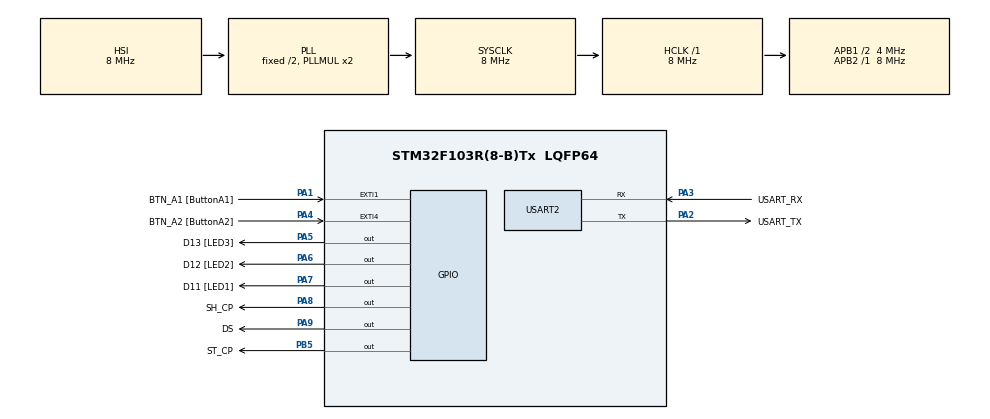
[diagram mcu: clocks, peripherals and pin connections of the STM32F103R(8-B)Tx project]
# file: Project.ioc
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Mcu.Family=STM32F1
Mcu.Name=STM32F103R(8-B)Tx
Mcu.Package=LQFP64
NVIC.EXTI1_IRQn=true\:0\:0\:false\:false\:true\:true\:true
NVIC.EXTI4_IRQn=true\:0\:0\:false\:false\:true\:true\:true
NVIC.PriorityGroup=NVIC_PRIORITYGROUP_4
PA1.GPIO_Label=BTN_A1 [ButtonA1]
PA1.Signal=GPXTI1
PA13.GPIO_Label=TMS
PA13.Mode=Serial_Wire
PA13.Signal=SYS_JTMS-SWDIO
PA14.GPIO_Label=TCK
PA14.Mode=Serial_Wire
PA14.Signal=SYS_JTCK-SWCLK
PA2.GPIO_Label=USART_TX
PA2.GPIO_Mode=GPIO_MODE_AF_PP
PA2.GPIO_PuPd=GPIO_NOPULL
PA2.GPIO_Speed=GPIO_SPEED_FREQ_LOW
PA2.Mode=Asynchronous
PA2.Signal=USART2_TX
PA3.GPIO_Label=USART_RX
PA3.GPIO_Mode=GPIO_MODE_AF_PP
PA3.GPIO_PuPd=GPIO_NOPULL
PA3.GPIO_Speed=GPIO_SPEED_FREQ_LOW
PA3.Mode=Asynchronous
PA3.Signal=USART2_RX
PA4.GPIO_Label=BTN_A2 [ButtonA2]
PA4.Signal=GPXTI4
PA5.GPIO_Label=D13 [LED3]
PA5.Signal=GPIO_Output
PA6.GPIO_Label=D12 [LED2]
PA6.Signal=GPIO_Output
PA7.GPIO_Label=D11 [LED1]
PA7.Signal=GPIO_Output
PA8.GPIO_Label=SH_CP
PA8.Signal=GPIO_Output
PA9.GPIO_Label=DS
PA9.Signal=GPIO_Output
PB3.GPIO_Label=SWO
PB3.Signal=SYS_JTDO-TRACESWO
PB5.GPIO_Label=ST_CP
PB5.Signal=GPIO_Output
PC14-OSC32_IN.Mode=LSE-External-Oscillator
PC14-OSC32_IN.Signal=RCC_OSC32_IN
PC15-OSC32_OUT.Mode=LSE-External-Oscillator
PC15-OSC32_OUT.Signal=RCC_OSC32_OUT
PD0-OSC_IN.Mode=HSE-External-Clock-Source
PD0-OSC_IN.Signal=RCC_OSC_IN
PD1-OSC_OUT.Mode=HSE-External-Clock-Source
PD1-OSC_OUT.Signal=RCC_OSC_OUT
ProjectManager.HeapSize=0x200
ProjectManager.StackSize=0x400
ProjectManager.TargetToolchain=MDK-ARM V5.32
RCC.AHBFreq_Value=8000000
RCC.APB1CLKDivider=RCC_HCLK_DIV2
RCC.APB1Freq_Value=4000000
RCC.APB1TimFreq_Value=8000000
RCC.APB2Freq_Value=8000000
RCC.APB2TimFreq_Value=8000000
RCC.HCLKFreq_Value=8000000
RCC.RTCClockSelection=RCC_RTCCLKSOURCE_LSE
RCC.SYSCLKFreq_VALUE=8000000
RCC.SYSCLKSource=RCC_SYSCLKSOURCE_PLLCLK
RCC.USBFreq_Value=8000000
USART2.VirtualMode=VM_ASYNC
board=NUCLEO-F103RB

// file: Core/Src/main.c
/* USER CODE BEGIN Header */
/**
  ******************************************************************************
  * @file           : main.c
  * @brief          : Main program body
  ******************************************************************************
  * @attention
  *
  * <h2><center>&copy; Copyright (c) 2021 STMicroelectronics.
  * All rights reserved.</center></h2>
  *
  * This software component is licensed by ST under BSD 3-Clause license,
  * the "License"; You may not use this file except in compliance with the
  * License. You may obtain a copy of the License at:
  *                        opensource.org/licenses/BSD-3-Clause
  *
  ******************************************************************************
  */
/* USER CODE END Header */
#include "main.h"
#include "usart.h"
#include "gpio.h"

/* USER CODE BEGIN PD */
#define BUTTON_DELAY 200
/* USER CODE END PD */

/* USER CODE BEGIN PV */
uint8_t pressedA1 = 0;
uint8_t pressedA2 = 0;
uint32_t button1PressTime = 0;
uint32_t button2PressTime = 0;
uint8_t isStopwatchRunning = 0;
uint8_t isStopwatchPaused = 0;
uint32_t stopwatchStartTime = 0;
uint32_t pauseStartTime = 0;
/* USER CODE END PV */

void SystemClock_Config(void);
/* USER CODE BEGIN PFP */
void writeByte(uint8_t val);
void beginDisplayWrite(void);
void endDisplayWrite(void);
uint8_t translateDigit(uint8_t value);
void writeDigit(uint8_t digit, uint8_t pos, uint8_t showDot);
void writeMsecToDisplay(uint32_t msec);
void handleButtons(void);
void handleLEDs(void);
void handleDisplay(void);
/* USER CODE END PFP */

int main(void)
{

  /* MCU Configuration--------------------------------------------------------*/

  /* Reset of all peripherals, Initializes the Flash interface and the Systick. */
  HAL_Init();

  /* Configure the system clock */
  SystemClock_Config();

  /* Initialize all configured peripherals */
  MX_GPIO_Init();
  MX_USART2_UART_Init();

  /* Infinite loop */
  while (1)
  {

    /* USER CODE BEGIN 3 */

		handleButtons();
		handleLEDs();
		handleDisplay();

  }
  /* USER CODE END 3 */
}

void SystemClock_Config(void)
{
  RCC_OscInitTypeDef RCC_OscInitStruct = {0};
  RCC_ClkInitTypeDef RCC_ClkInitStruct = {0};

  /** Initializes the RCC Oscillators according to the specified parameters
  * in the RCC_OscInitTypeDef structure.
  */
  RCC_OscInitStruct.OscillatorType = RCC_OSCILLATORTYPE_HSI;
  RCC_OscInitStruct.HSIState = RCC_HSI_ON;
  RCC_OscInitStruct.HSICalibrationValue = RCC_HSICALIBRATION_DEFAULT;
  RCC_OscInitStruct.PLL.PLLState = RCC_PLL_ON;
  RCC_OscInitStruct.PLL.PLLSource = RCC_PLLSOURCE_HSI_DIV2;
  RCC_OscInitStruct.PLL.PLLMUL = RCC_PLL_MUL2;
  if (HAL_RCC_OscConfig(&RCC_OscInitStruct) != HAL_OK)
  {
    Error_Handler();
  }
  /** Initializes the CPU, AHB and APB buses clocks
  */
  RCC_ClkInitStruct.ClockType = RCC_CLOCKTYPE_HCLK|RCC_CLOCKTYPE_SYSCLK
                              |RCC_CLOCKTYPE_PCLK1|RCC_CLOCKTYPE_PCLK2;
  RCC_ClkInitStruct.SYSCLKSource = RCC_SYSCLKSOURCE_PLLCLK;
  RCC_ClkInitStruct.AHBCLKDivider = RCC_SYSCLK_DIV1;
  RCC_ClkInitStruct.APB1CLKDivider = RCC_HCLK_DIV2;
  RCC_ClkInitStruct.APB2CLKDivider = RCC_HCLK_DIV1;

  if (HAL_RCC_ClockConfig(&RCC_ClkInitStruct, FLASH_LATENCY_0) != HAL_OK)
  {
    Error_Handler();
  }
}

/* USER CODE BEGIN 4 */
void handleDisplay()
{
	if (isStopwatchRunning == 1)
		{
			if (isStopwatchPaused == 1)
			{
				writeMsecToDisplay(pauseStartTime - stopwatchStartTime);
			}
			else
			{
				writeMsecToDisplay(HAL_GetTick() - stopwatchStartTime);
			}
		}
		else
		{
			writeMsecToDisplay(0);
		}
}

void handleLEDs()
{
	if (isStopwatchPaused == 1)
	{
		HAL_GPIO_WritePin(GPIOA, D13_Pin|D12_Pin, GPIO_PIN_RESET);
		HAL_GPIO_WritePin(GPIOA, D11_Pin, GPIO_PIN_SET);
		return;
	}

	if (isStopwatchRunning == 1)
	{
		HAL_GPIO_WritePin(GPIOA, D13_Pin|D11_Pin, GPIO_PIN_RESET);
		HAL_GPIO_WritePin(GPIOA, D12_Pin, GPIO_PIN_SET);
		return;
	}

	if (isStopwatchRunning == 0)
	{
		HAL_GPIO_WritePin(GPIOA, D12_Pin|D11_Pin, GPIO_PIN_RESET);
		HAL_GPIO_WritePin(GPIOA, D13_Pin, GPIO_PIN_SET);
		return;
	}

	HAL_GPIO_WritePin(GPIOA, D13_Pin|D12_Pin|D11_Pin, GPIO_PIN_RESET);
}

void handleButtons()
{
		if (pressedA1 == 1)
		{
			button1PressTime = HAL_GetTick();
			pressedA1 = 2;

			if (isStopwatchRunning == 0)
			{
				isStopwatchPaused = 0;
				pauseStartTime = 0;

				isStopwatchRunning = 1;
				stopwatchStartTime = HAL_GetTick();
			}
			else
			{
				isStopwatchPaused = 0;
				pauseStartTime = 0;

				isStopwatchRunning = 0;
				stopwatchStartTime = 0;
			}
		}
		if (pressedA1 == 2 && button1PressTime + BUTTON_DELAY < HAL_GetTick())
		{
			pressedA1 = 0;
		}

		if (pressedA2 == 1)
		{
			button2PressTime = HAL_GetTick();
			pressedA2 = 2;

			if (isStopwatchRunning == 1)
			{
				if (isStopwatchPaused == 0)
				{
					isStopwatchPaused = 1;
					pauseStartTime = HAL_GetTick();
				}
				else
				{
					stopwatchStartTime = stopwatchStartTime + HAL_GetTick() - pauseStartTime;
					isStopwatchPaused = 0;
					pauseStartTime = 0;
				}
			}
		}
		if (pressedA2 == 2 && button2PressTime + BUTTON_DELAY < HAL_GetTick())
		{
			pressedA2 = 0;
		}
}

void writeByte(uint8_t val)
{
	uint8_t i;

	for (i = 0; i < 8; i++) {
		if (!!(val & (1 << i)) == 1) {
			HAL_GPIO_WritePin(GPIOA, DS_Pin, GPIO_PIN_SET);
		} else {
			HAL_GPIO_WritePin(GPIOA, DS_Pin, GPIO_PIN_RESET);
		}

		HAL_GPIO_WritePin(GPIOA, SH_CP_Pin, GPIO_PIN_SET);
		HAL_GPIO_WritePin(GPIOA, SH_CP_Pin, GPIO_PIN_RESET);
	}
}

void beginDisplayWrite() {
	HAL_GPIO_WritePin(GPIOB, ST_CP_Pin, GPIO_PIN_RESET);
}

void endDisplayWrite() {
	HAL_GPIO_WritePin(GPIOB, ST_CP_Pin, GPIO_PIN_SET);
}

uint8_t translateDigit(uint8_t value) {
	switch (value) {
		case 0:
			return 0xFC; // 11111100
		case 1:
			return 0x60; // 01100000
		case 2:
			return 0xDA; // 11011010
		case 3:
			return 0xF2; // 11110010
		case 4:
			return 0x66; // 01100110
		case 5:
			return 0xB6; // 10110110
		case 6:
			return 0xBE; // 10111110
		case 7:
			return 0xE0; // 11100000
		case 8:
			return 0xFE; // 11111110
		case 9:
			return 0xF6; // 11110110
	}

	return 0x0;
}

void writeDigit(uint8_t digit, uint8_t pos, uint8_t showDot) {
	if (pos > 3) {
		return;
	}

	if (digit > 9) {
		return;
	}

	uint8_t d = translateDigit(digit);
	if (showDot) {
		d = d | 0x01;
	}

	beginDisplayWrite();
	writeByte(d);
	writeByte(0xEF << pos);
	endDisplayWrite();
}

void writeMsecToDisplay(uint32_t msec) {
	msec = msec / 100;

	uint8_t pos = 0;
	while (pos <= 1 || (pos <= 3 && msec > 0)) {
		writeDigit(msec % 10, pos, pos == 1);
		msec = msec / 10;
		pos++;
	}
}
/* USER CODE END 4 */

void Error_Handler(void)
{
  __disable_irq();
  while (1)
  {
  }
}
